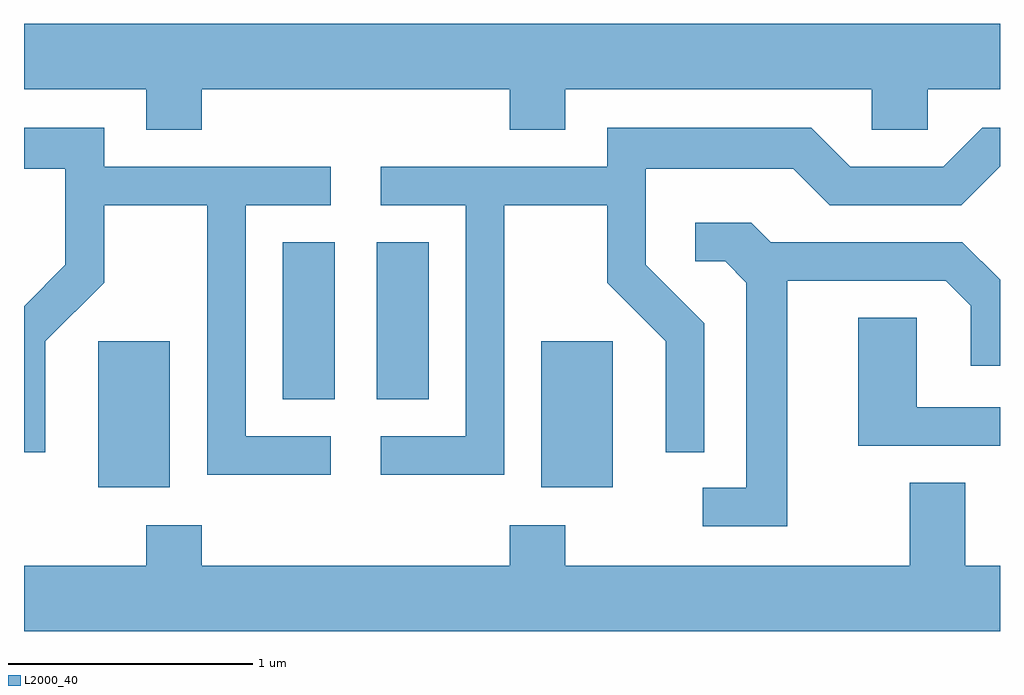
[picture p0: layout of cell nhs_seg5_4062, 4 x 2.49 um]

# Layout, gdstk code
import gdstk
lib = gdstk.Library(unit=1e-6, precision=1e-09)
def R(c, l, rs):  # rectangles x0, y0, x1, y1
    for r in rs: c.add(gdstk.rectangle(r[:2], r[2:], *l))
def P(c, l, *ps):  # polygons
    for p in ps: c.add(gdstk.Polygon(p, *l))
L2000_40 = (2000, 40)

nhs_seg5_4062 = lib.new_cell('nhs_seg5_4062')
R(nhs_seg5_4062, L2000_40, [(305.916,1450.726,306.209,1451.324), (307.731,1450.726,308.024,1451.324), (306.671,1451.086,306.884,1451.729), (307.056,1451.086,307.269,1451.729)])
P(nhs_seg5_4062, L2000_40, [(306.339,1452.356),(307.601,1452.356),(307.601,1452.191),(307.829,1452.191),(307.829,1452.356),(309.086,1452.356),(309.086,1452.191),(309.314,1452.191),(309.314,1452.356),(309.611,1452.356),(309.611,1452.624),(305.611,1452.624),(305.611,1452.356),(306.111,1452.356),(306.111,1452.191),(306.339,1452.191)],
  [(307.579,1451.881),(308.001,1451.881),(308.001,1451.564),(308.241,1451.324),(308.241,1450.868),(308.399,1450.868),(308.399,1451.397),(308.159,1451.637),(308.159,1452.031),(308.764,1452.031),(308.914,1451.881),(309.452,1451.881),(309.611,1452.04),(309.611,1452.199),(309.539,1452.199),(309.379,1452.039),(308.997,1452.039),(308.837,1452.199),(308.001,1452.199),(308.001,1452.039),(307.073,1452.039),(307.073,1451.881),(307.421,1451.881),(307.421,1450.934),(307.073,1450.934),(307.073,1450.776),(307.579,1450.776)],
  [(306.868,1450.934),(306.519,1450.934),(306.519,1451.881),(306.868,1451.881),(306.868,1452.039),(305.939,1452.039),(305.939,1452.199),(305.611,1452.199),(305.611,1452.031),(305.781,1452.031),(305.781,1451.637),(305.611,1451.467),(305.611,1450.868),(305.699,1450.868),(305.699,1451.324),(305.939,1451.564),(305.939,1451.881),(306.361,1451.881),(306.361,1450.776),(306.868,1450.776)],
  [(308.739,1451.571),(309.389,1451.571),(309.491,1451.469),(309.491,1451.223),(309.611,1451.223),(309.611,1451.575),(309.457,1451.729),(308.672,1451.729),(308.592,1451.809),(308.363,1451.809),(308.363,1451.651),(308.484,1451.651),(308.571,1451.564),(308.571,1450.724),(308.393,1450.724),(308.393,1450.566),(308.739,1450.566)],
  [(309.611,1451.054),(309.269,1451.054),(309.269,1451.419),(309.031,1451.419),(309.031,1450.896),(309.611,1450.896)],
  [(309.611,1450.404),(309.469,1450.404),(309.469,1450.744),(309.241,1450.744),(309.241,1450.404),(307.829,1450.404),(307.829,1450.569),(307.601,1450.569),(307.601,1450.404),(306.339,1450.404),(306.339,1450.569),(306.111,1450.569),(306.111,1450.404),(305.611,1450.404),(305.611,1450.136),(309.611,1450.136)])

lib.write_gds('nhs_seg5_4062.gds')
